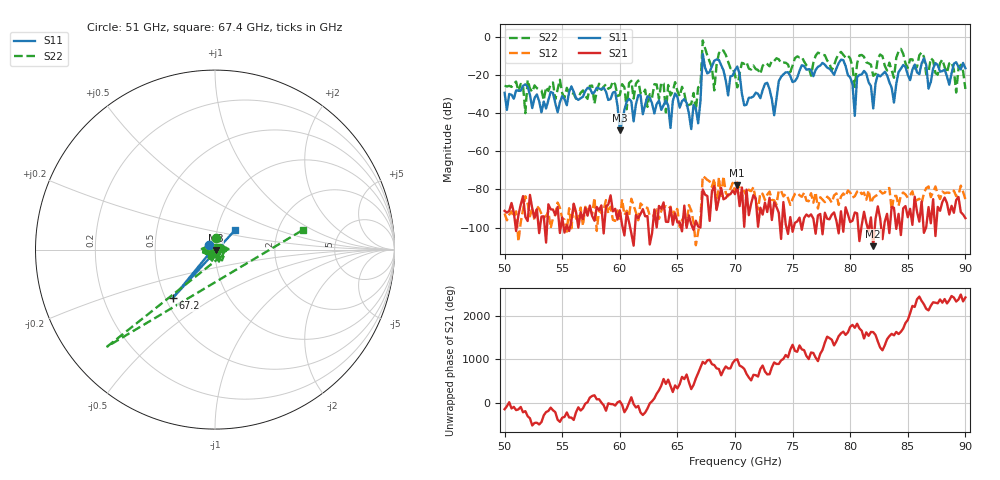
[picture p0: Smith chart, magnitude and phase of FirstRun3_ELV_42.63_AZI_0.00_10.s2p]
! 11/24/2026 3:31:51 PM
! C:\ANRITSUVNA\TEMP\TEMP.S2P
! CHANNEL.1
! TR.MEASUREMENT
! RAW.DATA
# HZ S RI R 50.0
! FREQ.HZ  S11RE  S11IM  S21RE  S21IM  S12RE  S12IM  S22RE  S22IM
!; PortSelection: Port_12
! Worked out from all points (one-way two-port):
!   201 points, 50 GHz to 90 GHz, reference 50 ohm
!   highest |S21| = -77.88 dB at 70.2 GHz (marker M1); lowest = -109.7 dB at 82 GHz (marker M2)
!   lowest |S11| = -48.9 dB at 60 GHz (marker M3), VSWR 1.01, Z = 50.3 - j0.159 ohm
!   |S11| at or under -10 dB: start of sweep to 67.19 GHz; 67.23 GHz to end of sweep
!   |S22| runs from -40.0 to -1.9 dB; largest |S21 - S12| = 0.0003
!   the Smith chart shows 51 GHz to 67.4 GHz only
!   S11 on the Smith chart (normalised r, x): 51 GHz: 0.94, +0.05; 67.2 GHz: 0.54, -0.34; 67.4 GHz: 1.22, +0.27
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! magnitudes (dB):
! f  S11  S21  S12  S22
! 50 GHz  -29.3  -91.2  -92.6  -25.6
! 51 GHz  -28.0  -101.8  -91.5  -23.4
! 56.8 GHz  -31.4  -95.6  -99.1  -28.0
! 59.6 GHz  -28.8  -90.1  -96.5  -25.0
! 60 GHz  -48.9  -90.9  -95.4  -30.5
! 63.4 GHz  -33.4  -88.6  -95.4  -32.6
! 66.8 GHz  -45.3  -99.4  -102.4  -26.4
! 67.2 GHz  -8.9  -80.0  -73.0  -1.9
! 67.4 GHz  -16.1  -82.7  -73.9  -5.9
! 68.2 GHz  -12.5  -78.3  -74.3  -28.1
! 68.8 GHz  -14.8  -79.2  -83.3  -6.7
! 70 GHz  -17.4  -82.5  -81.5  -19.9
! 70.2 GHz  -15.5  -77.9  -76.4  -26.5
! 73.4 GHz  -41.1  -86.8  -85.7  -12.6
! 74.2 GHz  -19.7  -86.6  -83.7  -13.5
! 76.8 GHz  -20.6  -95.2  -86.9  -13.6
! 79.4 GHz  -12.2  -102.2  -82.1  -9.4
! 80.4 GHz  -41.4  -92.1  -83.5  -26.2
! 81.2 GHz  -17.9  -91.7  -81.7  -10.4
! 82 GHz  -37.5  -109.7  -84.4  -20.4
! 83.4 GHz  -23.8  -102.9  -79.2  -13.5
! 90 GHz  -16.4  -95.0  -85.2  -27.3
